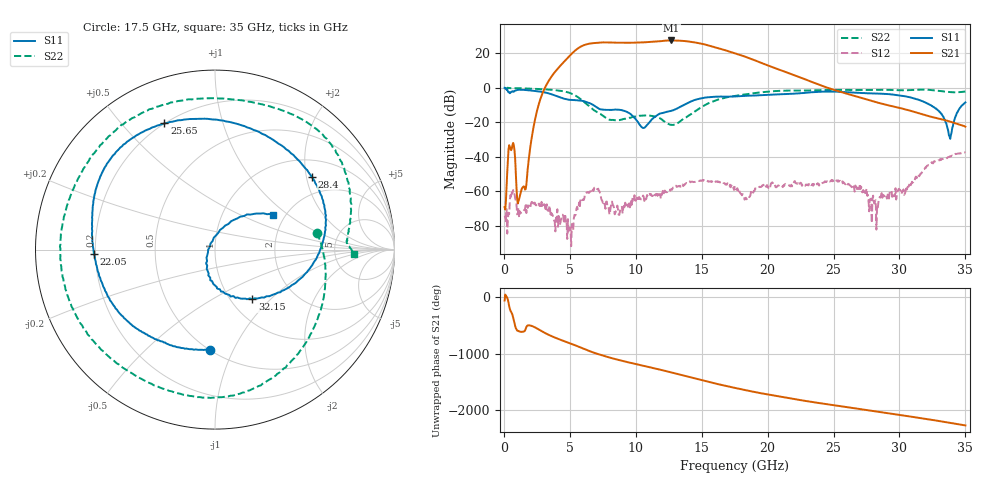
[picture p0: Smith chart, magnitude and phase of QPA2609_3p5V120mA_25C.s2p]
!VG(V) = -0.484
!VG(mA) = -0.002
!VD(V) = 3.500
!VD(mA) = 120.604
!Temp(V) = 0.025275
# GHz  S  DB  R  50
!%	Freq(GHz)  S11(dB)  S11(deg)  S21(dB)  S21(deg)  S12(dB)  S12(deg)  S22(dB)  S22(deg)
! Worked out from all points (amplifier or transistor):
!   700 points, 50 MHz to 35 GHz, reference 50 ohm
!   highest |S21| = 27.4 dB at 12.7 GHz (marker M1)
!   |S21| within 3 dB of that: 5.983 GHz to 15.57 GHz (9.587 GHz wide, 89 % of centre)
!   unconditionally stable (mu >= 1): start of sweep to end of sweep
!   at 5.85 GHz: K = 33.66, MAG = 25.8 dB, |S12| = -64.2 dB
!   at 17.55 GHz: K = 19.44, MAG = 23.4 dB, |S12| = -58.6 dB
!   at 35 GHz: K = 181.07, MAG = -18.0 dB, |S12| = -37.8 dB
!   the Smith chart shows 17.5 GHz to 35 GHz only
!   S11 on the Smith chart (normalised r, x): 17.5 GHz: 0.50, -0.81; 22.05 GHz: 0.19, -0.02; 25.65 GHz: 0.20, +0.66; 28.4 GHz: 1.44, +2.15; 32.15 GHz: 1.25, -0.79; 35 GHz: 1.73, +0.77
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0.05  -0.04 -18.6  -69.34 -63.4  -75.18 -50.5  -0.57 -48.3
4.45  -6.10 -25.4  14.18 -48.5  -73.70 97.6  -1.96 54.5
5.3  -7.16 -105.1  20.92 -122.6  -75.82 -108.4  -4.05 9.4
5.9  -7.58 -151.5  24.14 179.5  -64.94 154.9  -7.13 -32.5
6.95  -10.89 139.7  25.99 87.6  -57.81 89.6  -13.60 -108.8
8.2  -12.88 50.7  26.24 0.0  -66.09 77.8  -18.72 161.3
9.85  -17.08 -28.5  26.15 -94.5  -65.50 107.8  -16.83 112.1
11.7  -15.53 157.1  26.91 166.8  -60.85 51.6  -17.45 108.6
12.7  -13.39 105.8  27.44 109.0  -58.78 7.4  -21.51 86.4
13.45  -10.79 56.3  27.25 64.4  -56.79 -35.6  -19.03 70.2
14.4  -7.31 5.0  26.41 7.9  -54.76 -88.3  -14.27 63.9
15.75  -5.33 -45.8  24.06 -69.8  -54.24 -140.2  -8.28 50.9
17.5  -5.07 -93.0  20.06 -161.2  -57.02 154.7  -4.80 9.3
17.55  -5.04 -93.9  19.94 -163.7  -58.62 148.5  -4.72 7.6
19.15  -4.48 -123.2  15.54 119.4  -58.54 -70.1  -2.99 -40.4
22.05  -3.41 -178.0  7.24 0.1  -54.17 -161.4  -1.67 -101.1
23.35  -2.62 154.5  3.36 -49.4  -56.46 172.2  -1.55 -132.1
25.65  -2.41 111.8  -2.68 -128.4  -53.83 65.2  -1.28 -178.6
28.4  -3.42 37.0  -8.76 137.6  -66.67 -136.9  -1.25 131.5
29.2  -3.73 19.2  -10.31 111.4  -64.37 140.1  -1.30 116.1
32.15  -9.22 -53.1  -16.35 5.8  -45.18 17.0  -1.23 40.6
35  -8.52 30.9  -22.61 -103.4  -37.77 -95.6  -2.24 -1.7
